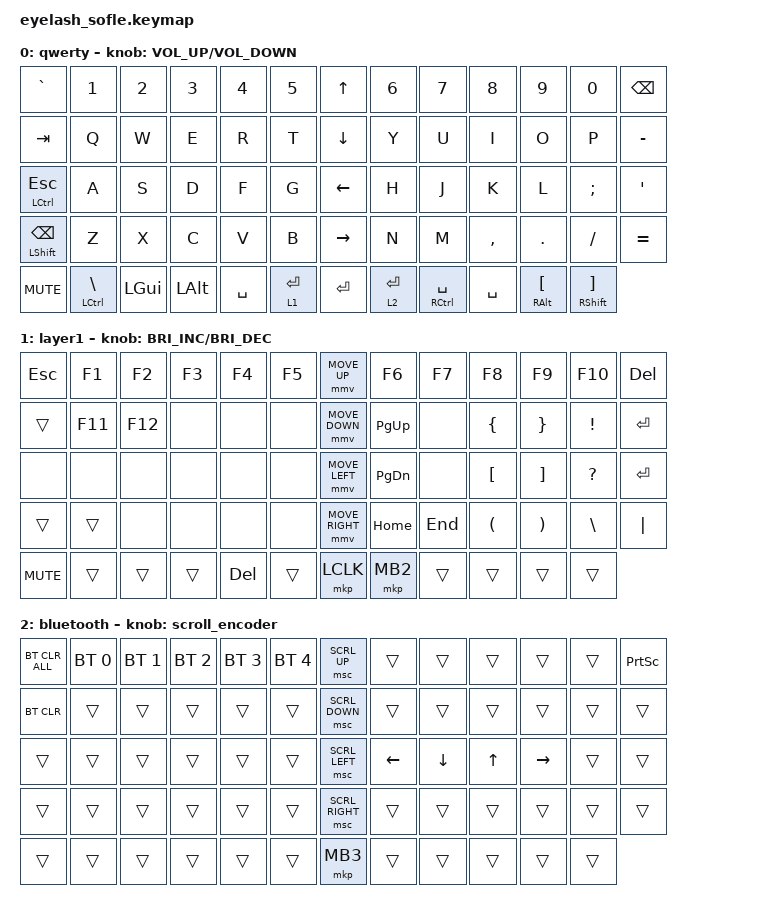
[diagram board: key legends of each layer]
#include <dt-bindings/zmk/mouse.h>
#include <input/processors.dtsi>
#include <behaviors.dtsi>
#include <dt-bindings/zmk/bt.h>
#include <dt-bindings/zmk/keys.h>
#include <dt-bindings/zmk/pointing.h>

/*

   &mmv_input_listener {
       input-processors = <&zip_xy_scaler 2 1>;
   };

   &msc_input_listener {
       input-processors = <&zip_xy_scaler 2 1>;
   };

 */

#define ZMK_MOUSE_DEFAULT_MOVE_VAL 1200  // 600
#define ZMK_MOUSE_DEFAULT_SCRL_VAL 20    // 10

/ {
    behaviors {
        mmv {
            acceleration-exponent = <1>;      // 1
            time-to-max-speed-ms = <900>;    // 40
            delay-ms = <0>;                   // 0
        };

        msc {
            acceleration-exponent = <1>;      // 0
            time-to-max-speed-ms = <400>;      // 500
            delay-ms = <0>;                   //   10
        };
    };

    scroll_encoder: scroll_encoder {
        compatible = "zmk,behavior-sensor-rotate";
        #sensor-binding-cells = <0>;
        bindings = <&msc SCRL_DOWN>, <&msc SCRL_UP>;

        tap-ms = <30>;
    };

    one: one {
        compatible = "zmk,behavior-mod-morph";
        label = "ONE";
        bindings = <&kp PLUS>, <&kp NUMBER_1>;

        #binding-cells = <0>;
        mods = <(MOD_LSFT|MOD_RSFT)>;
    };

    two: two {
        compatible = "zmk,behavior-mod-morph";
        label = "TWO";
        bindings = <&kp LEFT_BRACKET>, <&kp NUMBER_2>;

        #binding-cells = <0>;
        mods = <(MOD_LSFT|MOD_RSFT)>;
    };

    three: three {
        compatible = "zmk,behavior-mod-morph";
        label = "THREE";
        bindings = <&kp LEFT_BRACE>, <&kp NUMBER_3>;

        #binding-cells = <0>;
        mods = <(MOD_LSFT|MOD_RSFT)>;
    };

    four: four {
        compatible = "zmk,behavior-mod-morph";
        label = "FOUR";
        bindings = <&kp LEFT_PARENTHESIS>, <&kp NUMBER_4>;

        #binding-cells = <0>;
        mods = <(MOD_LSFT|MOD_RSFT)>;
    };

    five: five {
        compatible = "zmk,behavior-mod-morph";
        label = "FIVE";
        bindings = <&kp AMPERSAND>, <&kp N5>;

        #binding-cells = <0>;
        mods = <(MOD_LSFT|MOD_RSFT)>;
    };

    six: six {
        compatible = "zmk,behavior-mod-morph";
        label = "SIX";
        bindings = <&kp EQUAL>, <&kp NUMBER_6>;

        #binding-cells = <0>;
        mods = <(MOD_LSFT|MOD_RSFT)>;
    };

    seven: seven {
        compatible = "zmk,behavior-mod-morph";
        label = "SEVEN";
        bindings = <&kp RIGHT_PARENTHESIS>, <&kp N7>;

        #binding-cells = <0>;
        mods = <(MOD_LSFT|MOD_RSFT)>;
    };

    eight: eight {
        compatible = "zmk,behavior-mod-morph";
        label = "EIGHT";
        bindings = <&kp RIGHT_BRACE>, <&kp N8>;

        #binding-cells = <0>;
        mods = <(MOD_LSFT|MOD_RSFT)>;
    };

    nine: nine {
        compatible = "zmk,behavior-mod-morph";
        label = "NINE";
        bindings = <&kp RIGHT_BRACKET>, <&kp N9>;

        #binding-cells = <0>;
        mods = <(MOD_LSFT|MOD_RSFT)>;
    };

    zero: zero {
        compatible = "zmk,behavior-mod-morph";
        label = "ZERO";
        bindings = <&kp ASTERISK>, <&kp N0>;

        #binding-cells = <0>;
        mods = <(MOD_LSFT|MOD_RSFT)>;
    };

    qwerty: qwerty {
        compatible = "zmk,behavior-toggle-layer";
        label = "QWERTY";
        #binding-cells = <1>;
    };

    keymap {
        compatible = "zmk,keymap";

        qwerty {
            bindings = <
&kp GRAVE            &kp NUMBER_1                &kp NUMBER_2  &kp NUMBER_3  &kp NUMBER_4  &kp N5         &kp UP_ARROW     &kp NUMBER_6  &kp N7                   &kp N8     &kp N9                      &kp N0                         &kp BACKSPACE
&kp TAB              &kp Q                       &kp W         &kp E         &kp R         &kp T          &kp DOWN_ARROW   &kp Y         &kp U                    &kp I      &kp O                       &kp P                          &kp MINUS
&mt LCTRL ESCAPE     &kp A                       &kp S         &kp D         &kp F         &kp G          &kp LEFT_ARROW   &kp H         &kp J                    &kp K      &kp L                       &kp SEMICOLON                  &kp SQT
&mt LSHFT BACKSPACE  &kp Z                       &kp X         &kp C         &kp V         &kp B          &kp RIGHT_ARROW  &kp N         &kp M                    &kp COMMA  &kp PERIOD                  &kp SLASH                      &kp EQUAL
&kp C_MUTE           &mt LEFT_CONTROL BACKSLASH  &kp LGUI      &kp LEFT_ALT  &kp SPACE     &lt 1 ENTER    &kp ENTER        &lt 2 ENTER   &mt RIGHT_CONTROL SPACE  &kp SPACE  &mt RIGHT_ALT LEFT_BRACKET  &mt RIGHT_SHIFT RIGHT_BRACKET
            >;

            sensor-bindings = <&inc_dec_kp C_VOLUME_UP C_VOLUME_DOWN>;
        };

        others {
            bindings = <
&kp ESCAPE  &kp F1   &kp F2   &kp F3  &kp F4      &kp F5    &mmv MOVE_UP     &kp F6         &kp F7   &kp F8                &kp F9                 &kp F10        &kp DELETE
&trans      &kp F11  &kp F12  &none   &none       &none     &mmv MOVE_DOWN   &kp PAGE_UP    &none    &kp LEFT_BRACE        &kp RIGHT_BRACE        &kp EXCL       &kp ENTER
&none       &none    &none    &none   &none       &none     &mmv MOVE_LEFT   &kp PAGE_DOWN  &none    &kp LEFT_BRACKET      &kp RIGHT_BRACKET      &kp QUESTION   &kp ENTER
&trans      &trans   &none    &none   &none       &none     &mmv MOVE_RIGHT  &kp HOME       &kp END  &kp LEFT_PARENTHESIS  &kp RIGHT_PARENTHESIS  &kp BACKSLASH  &kp PIPE
&kp C_MUTE  &trans   &trans   &trans  &kp DELETE  &trans    &mkp LCLK        &mkp MB2       &trans   &trans                &trans                 &trans
            >;

            display-name = "layer1";
            sensor-bindings = <&inc_dec_kp C_BRIGHTNESS_INC C_BRIGHTNESS_DEC>;
        };

        bluetooth {
            bindings = <
&bt BT_CLR_ALL  &bt BT_SEL 0  &bt BT_SEL 1  &bt BT_SEL 2  &bt BT_SEL 3  &bt BT_SEL 4    &msc SCRL_UP     &trans          &trans          &trans        &trans           &trans  &kp PRINTSCREEN
&bt BT_CLR      &trans        &trans        &trans        &trans        &trans          &msc SCRL_DOWN   &trans          &trans          &trans        &trans           &trans  &trans
&trans          &trans        &trans        &trans        &trans        &trans          &msc SCRL_LEFT   &kp LEFT_ARROW  &kp DOWN_ARROW  &kp UP_ARROW  &kp RIGHT_ARROW  &trans  &trans
&trans          &trans        &trans        &trans        &trans        &trans          &msc SCRL_RIGHT  &trans          &trans          &trans        &trans           &trans  &trans
&trans          &trans        &trans        &trans        &trans        &trans          &mkp MB3         &trans          &trans          &trans        &trans           &trans
            >;

            sensor-bindings = <&scroll_encoder>;
        };
    };
};
